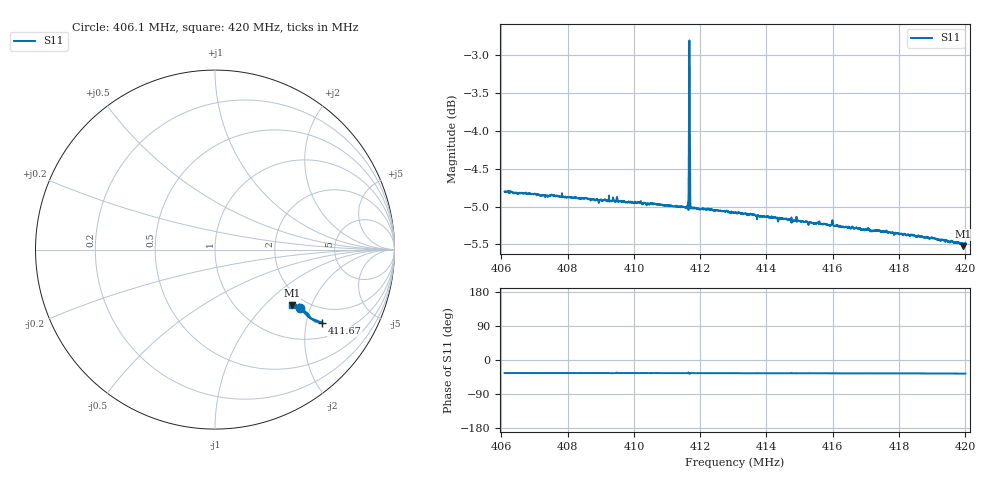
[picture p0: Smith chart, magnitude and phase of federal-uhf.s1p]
! Calibrated averaged scanner-service zoom
# Hz S RI R 50
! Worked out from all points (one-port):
!   2001 points, 406.1 MHz to 420 MHz, reference 50 ohm
!   lowest |S11| = -5.5 dB at 419.92 MHz (marker M1), VSWR 3.25, Z = 85.3 - j73.5 ohm
!   |S11| at or under -10 dB: nowhere
!   S11 on the Smith chart (normalised r, x): 406.1 MHz: 1.75, -1.70; 411.67 MHz: 1.45, -2.49; 420 MHz: 1.70, -1.48
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4.061e8  0.4741 -0.3259
4.078375e8  0.4703 -0.324
4.08741e8  0.468 -0.3229
4.088939e8  0.469 -0.3215
4.093874e8  0.4661 -0.3251
4.094638e8  0.4674 -0.3204
4.095333e8  0.4671 -0.3213
4.09575e8  0.4666 -0.3219
4.113125e8  0.4626 -0.3198
4.115766e8  0.4613 -0.3193
4.115836e8  0.4618 -0.3192
4.115974e8  0.462 -0.3203
4.116114e8  0.4628 -0.3208
4.116183e8  0.4627 -0.3213
4.116322e8  0.4634 -0.3161
4.116739e8  0.5981 -0.4078
4.117086e8  0.4616 -0.3192
4.117295e8  0.4612 -0.3195
4.117434e8  0.4614 -0.32
4.117573e8  0.4613 -0.3196
4.117642e8  0.4616 -0.3196
4.117782e8  0.4608 -0.3196
4.1305e8  0.4571 -0.3186
4.147875e8  0.4509 -0.316
4.16525e8  0.4456 -0.3128
4.182625e8  0.4395 -0.3121
4.199236e8  0.4291 -0.3101
4.2e8  0.4303 -0.3113
